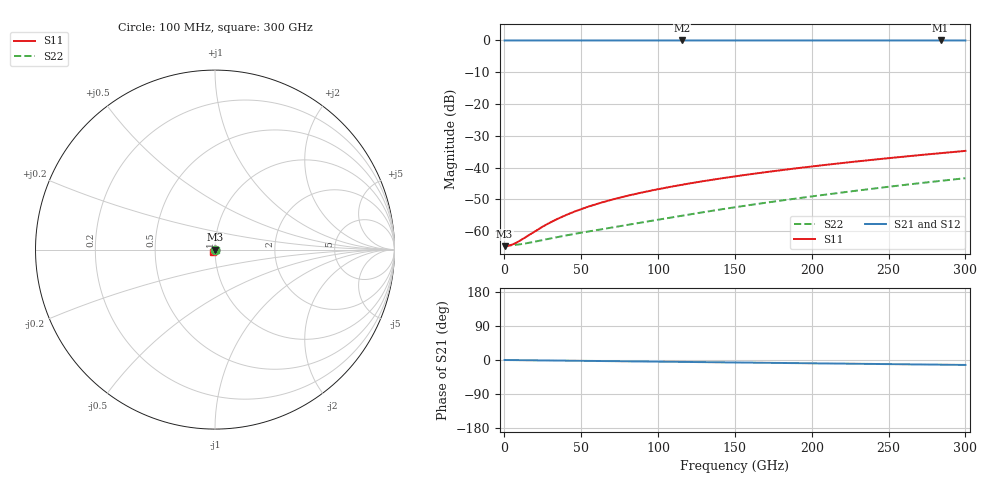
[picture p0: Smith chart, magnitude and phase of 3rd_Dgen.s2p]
#  Hz  S  RI  R  50
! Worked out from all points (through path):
!   3000 points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, 100 MHz to 300 GHz, reference 50 ohm
!   highest |S21| = 0.00 dB at 283.8 GHz (marker M1); lowest = 0.0 dB at 115.5 GHz (marker M2)
!   group delay of S21, straight-line fit = 120 fs
!   lowest |S11| = -64.7 dB at 100 MHz (marker M3), VSWR 1.00, Z = 50.1 - j0.000395 ohm
!   |S11| at or under -10 dB: start of sweep to end of sweep
!   |S22| runs from -64.5 to -43.4 dB; largest |S21 - S12| = 0.016
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1e8  0.000579 -3.95e-06  0.9994 -7.63e-05  0.9994 -7.11e-05  0.000593 8.12e-07
3.4e9  0.000579 -0.000134  0.9994 -0.0026  0.9994 -0.00242  0.000596 2.75e-05
6.9e9  0.00058 -0.000274  0.9994 -0.00527  0.9994 -0.0049  0.000603 5.51e-05
1.02e10  0.000581 -0.000406  0.9994 -0.00778  0.9994 -0.00724  0.000614 7.97e-05
1.52e10  0.00058 -0.000612  0.9993 -0.0116  0.9993 -0.0108  0.000639 0.000114
2.32e10  0.000571 -0.000954  0.9992 -0.0176  0.9992 -0.0164  0.000691 0.000157
3.03e10  0.000548 -0.00127  0.9991 -0.023  0.9991 -0.0214  0.000746 0.000184
3.98e10  0.000486 -0.00171  0.9988 -0.0301  0.9989 -0.028  0.000826 0.000207
5.01e10  0.000375 -0.00219  0.9986 -0.0379  0.9986 -0.0352  0.000919 0.000217
6.05e10  0.000219 -0.00268  0.9982 -0.0457  0.9983 -0.0425  0.00102 0.00022
7.22e10  -2.6e-06 -0.00322  0.9978 -0.0545  0.9978 -0.0506  0.00114 0.000215
8.53e10  -0.000304 -0.00383  0.9972 -0.0643  0.9972 -0.0598  0.0013 0.000201
1.001e11  -0.000709 -0.00451  0.9964 -0.0755  0.9965 -0.0701  0.0015 0.000171
1.155e11  -0.00121 -0.00522  0.9954 -0.0871  0.9956 -0.0809  0.00174 0.000122
1.321e11  -0.00183 -0.00597  0.9942 -0.0995  0.9945 -0.0925  0.00203 4.73e-05
1.501e11  -0.00261 -0.00678  0.9928 -0.113  0.9931 -0.105  0.00237 -6.07e-05
1.737e11  -0.00381 -0.00781  0.9907 -0.1307  0.9911 -0.1215  0.00287 -0.000245
2.001e11  -0.00536 -0.00891  0.9879 -0.1505  0.9884 -0.1398  0.00348 -0.000519
2.246e11  -0.00701 -0.00989  0.985 -0.1689  0.9856 -0.1569  0.0041 -0.000851
2.501e11  -0.00893 -0.0109  0.9816 -0.188  0.9824 -0.1747  0.00482 -0.00129
2.838e11  -0.0118 -0.012  0.9765 -0.2132  0.9776 -0.198  0.00584 -0.00199
3e11  -0.0133 -0.0126  0.9738 -0.2253  0.9751 -0.2093  0.00636 -0.00239
